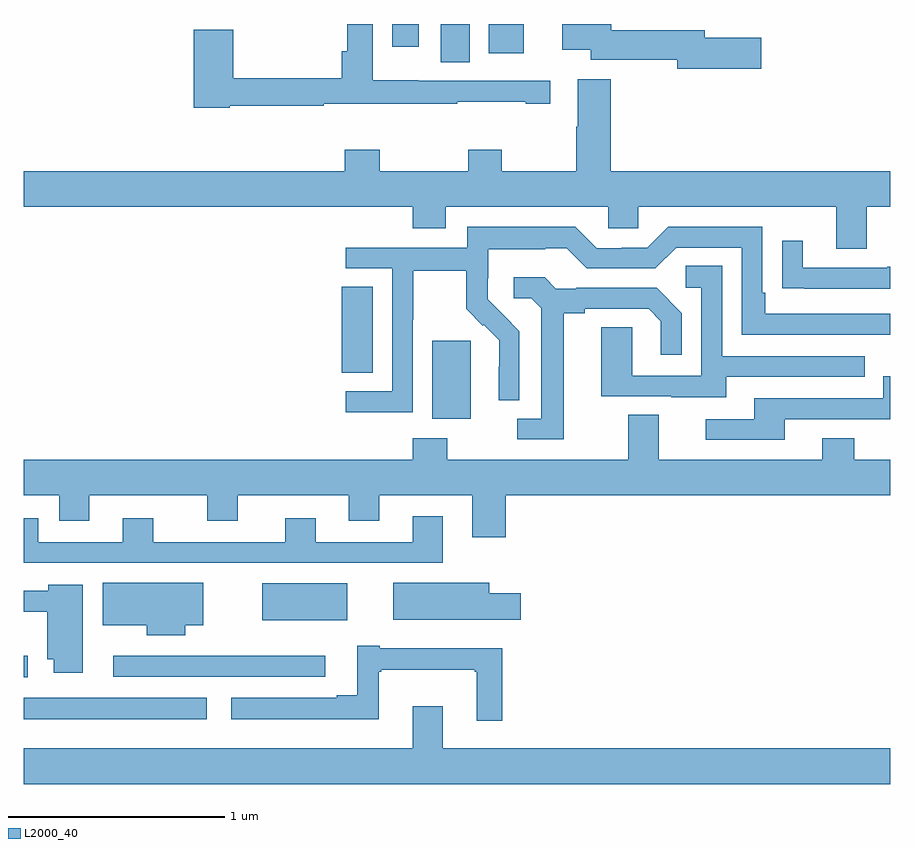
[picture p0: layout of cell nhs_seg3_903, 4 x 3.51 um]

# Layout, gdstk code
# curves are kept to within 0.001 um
import gdstk
lib = gdstk.Library(unit=1e-6, precision=1e-09)
def R(c, l, rs):  # rectangles x0, y0, x1, y1
    for r in rs: c.add(gdstk.rectangle(r[:2], r[2:], *l))
def P(c, l, *ps):  # polygons
    for p in ps: c.add(gdstk.Polygon(p, *l))
L2000_40 = (2000, 40)

nhs_seg3_903 = lib.new_cell('nhs_seg3_903')
R(nhs_seg3_903, L2000_40, [(157,725.192,157.846,725.289), (157,725.385,157.018,725.483), (158.102,725.648,158.494,725.818), (158.885,726.578,159.064,726.939), (158.468,726.79,158.611,727.187), (158.924,728.224,159.058,728.4), (159.146,728.265,159.307,728.4), (158.702,728.295,158.824,728.4)])
P(nhs_seg3_903, L2000_40, [(160.405,728.336),(160.144,728.336),(160.144,728.372),(159.712,728.372),(159.712,728.4),(159.485,728.4),(159.485,728.282),(159.618,728.282),(159.618,728.236),(160.016,728.236),(160.016,728.194),(160.405,728.194)],
  [(157.95,728.022),(158.384,728.022),(158.384,728.033),(158.586,728.033),(158.586,728.031),(159.002,728.031),(159.002,728.041),(159.317,728.041),(159.317,728.031),(159.43,728.031),(159.43,728.139),(158.82,728.139),(158.82,728.14),(158.61,728.14),(158.61,728.4),(158.494,728.4),(158.494,728.275),(158.468,728.275),(158.468,728.15),(157.967,728.15),(157.967,728.374),(157.784,728.374),(157.784,728.014),(157.95,728.014)],
  [(160.891,727.556),(161,727.556),(161,727.72),(159.71,727.72),(159.71,728.146),(159.557,728.146),(159.557,727.925),(159.55,727.925),(159.55,727.72),(159.207,727.72),(159.207,727.819),(159.052,727.819),(159.052,727.72),(158.643,727.72),(158.643,727.819),(158.483,727.819),(158.483,727.72),(157,727.72),(157,727.556),(158.795,727.556),(158.795,727.457),(158.947,727.457),(158.947,727.556),(159.699,727.556),(159.699,727.458),(159.837,727.458),(159.837,727.556),(160.751,727.556),(160.751,727.362),(160.891,727.362)],
  [(158.796,727.036),(158.799,727.036),(158.799,727.26),(159.043,727.26),(159.043,727.085),(159.12,727.008),(159.123,727.011),(159.194,726.941),(159.194,726.818),(159.192,726.818),(159.192,726.664),(159.288,726.664),(159.288,726.982),(159.142,727.13),(159.142,727.227),(159.144,727.227),(159.144,727.361),(159.407,727.361),(159.407,727.365),(159.507,727.365),(159.6,727.272),(159.915,727.272),(160.011,727.368),(160.314,727.368),(160.314,726.966),(161,726.966),(161,727.062),(160.423,727.062),(160.423,727.159),(160.41,727.159),(160.41,727.464),(159.975,727.464),(159.879,727.368),(159.761,727.368),(159.761,727.365),(159.645,727.365),(159.545,727.465),(159.048,727.465),(159.048,727.368),(158.487,727.368),(158.487,727.272),(158.7,727.272),(158.7,726.705),(158.487,726.705),(158.487,726.607),(158.796,726.607)],
  [(161,727.28),(160.987,727.28),(160.987,727.275),(160.597,727.275),(160.597,727.399),(160.501,727.399),(160.501,727.18),(160.603,727.18),(160.603,727.179),(161,727.179)],
  [(160.243,726.771),(160.883,726.771),(160.883,726.867),(160.224,726.867),(160.224,727.283),(160.056,727.283),(160.056,727.182),(160.128,727.182),(160.128,726.777),(159.81,726.777),(159.81,727.001),(159.665,727.001),(159.665,726.681),(159.989,726.681),(159.989,726.677),(160.243,726.677)],
  [(159.493,727.064),(159.589,727.064),(159.589,727.086),(159.884,727.086),(159.941,727.029),(159.941,726.873),(160.038,726.873),(160.038,727.066),(159.922,727.182),(159.55,727.182),(159.55,727.179),(159.456,727.179),(159.404,727.231),(159.261,727.231),(159.261,727.134),(159.342,727.134),(159.389,727.087),(159.389,726.579),(159.279,726.579),(159.279,726.483),(159.493,726.483)],
  [(160.513,726.576),(161,726.576),(161,726.775),(160.968,726.775),(160.968,726.672),(160.373,726.672),(160.373,726.576),(160.149,726.576),(160.149,726.48),(160.513,726.48)],
  [(159.224,726.224),(161,726.224),(161,726.388),(160.833,726.388),(160.833,726.487),(160.685,726.487),(160.685,726.388),(159.931,726.388),(159.931,726.596),(159.791,726.596),(159.791,726.388),(158.955,726.388),(158.955,726.487),(158.795,726.487),(158.795,726.388),(157,726.388),(157,726.224),(157.163,726.224),(157.163,726.107),(157.303,726.107),(157.303,726.224),(157.847,726.224),(157.847,726.107),(157.987,726.107),(157.987,726.224),(158.501,726.224),(158.501,726.107),(158.641,726.107),(158.641,726.224),(159.071,726.224),(159.071,726.03),(159.224,726.03)],
  [(158.935,726.127),(158.795,726.127),(158.795,726.009),(158.347,726.009),(158.347,726.118),(158.207,726.118),(158.207,726.009),(157.597,726.009),(157.597,726.118),(157.457,726.118),(157.457,726.009),(157.066,726.009),(157.066,726.118),(157,726.118),(157,725.913),(158.935,725.913)],
  [(157.745,725.624),(157.828,725.624),(157.828,725.821),(157.364,725.821),(157.364,725.624),(157.567,725.624),(157.567,725.579),(157.745,725.579)],
  [(159.295,725.773),(159.148,725.773),(159.148,725.821),(158.705,725.821),(158.705,725.651),(159.295,725.651)],
  [(157.273,725.812),(157.113,725.812),(157.113,725.784),(157,725.784),(157,725.687),(157.109,725.687),(157.109,725.468),(157.139,725.468),(157.139,725.406),(157.273,725.406)],
  [(159.209,725.518),(158.644,725.518),(158.644,725.53),(158.54,725.53),(158.54,725.302),(158.444,725.302),(158.444,725.289),(157.959,725.289),(157.959,725.192),(158.638,725.192),(158.638,725.409),(158.65,725.409),(158.65,725.42),(159.081,725.42),(159.081,725.409),(159.092,725.409),(159.092,725.184),(159.209,725.184)],
  [(158.392,725.485),(157.828,725.485),(157.828,725.484),(157.413,725.484),(157.413,725.388),(158.392,725.388)],
  [(161,725.056),(158.935,725.056),(158.935,725.251),(158.795,725.251),(158.795,725.056),(157,725.056),(157,724.892),(161,724.892)])

lib.write_gds('nhs_seg3_903.gds')
